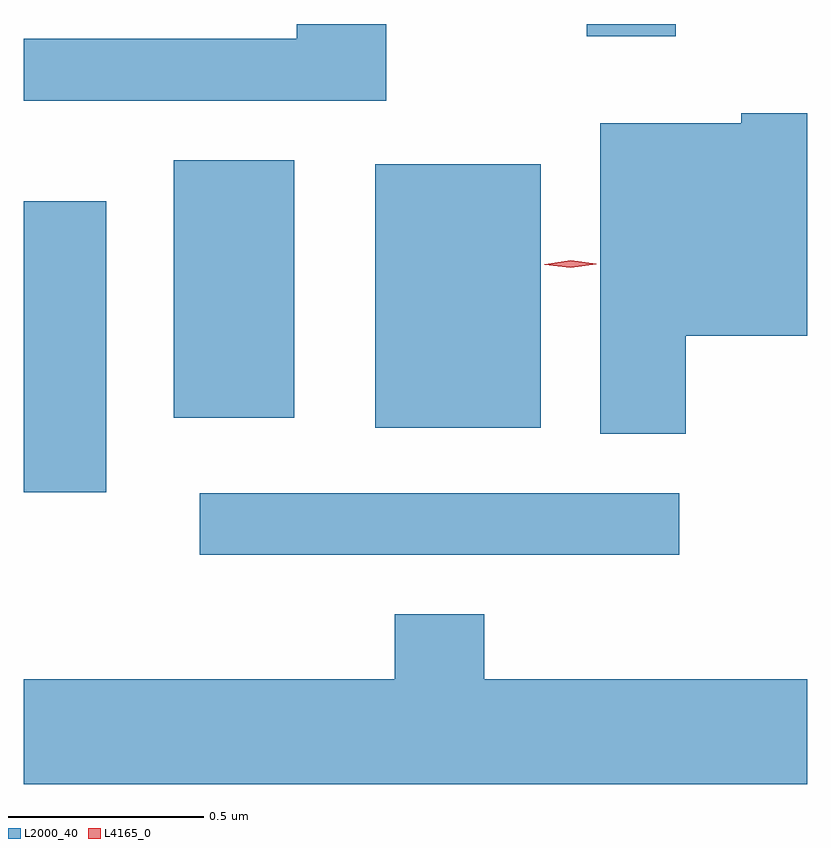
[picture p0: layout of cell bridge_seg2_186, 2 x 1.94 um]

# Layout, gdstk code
import gdstk
lib = gdstk.Library(unit=1e-6, precision=1e-09)
def R(c, l, rs):  # rectangles x0, y0, x1, y1
    for r in rs: c.add(gdstk.rectangle(r[:2], r[2:], *l))
def P(c, l, *ps):  # polygons
    for p in ps: c.add(gdstk.Polygon(p, *l))
L2000_40 = (2000, 40)
L4165_0 = (4165, 0)

bridge_seg2_186 = lib.new_cell('bridge_seg2_186')
R(bridge_seg2_186, L2000_40, [(851.023,1028.921,852.248,1029.079), (850.574,1029.081,850.784,1029.824), (851.471,1029.246,851.894,1029.919), (850.956,1029.271,851.264,1029.929), (852.011,1030.246,852.239,1030.277)])
P(bridge_seg2_186, L2000_40, [(851.499,1030.277),(851.271,1030.277),(851.271,1030.239),(850.574,1030.239),(850.574,1030.081),(851.499,1030.081)],
  [(852.264,1029.481),(852.574,1029.481),(852.574,1030.049),(852.406,1030.049),(852.406,1030.024),(852.046,1030.024),(852.046,1029.231),(852.264,1029.231)],
  [(852.574,1028.604),(851.749,1028.604),(851.749,1028.769),(851.521,1028.769),(851.521,1028.604),(850.574,1028.604),(850.574,1028.336),(852.574,1028.336)])
P(bridge_seg2_186, L4165_0, [(851.97,1029.654),(851.904,1029.662),(851.903,1029.663),(851.904,1029.663),(851.97,1029.674),(852.036,1029.665),(852.036,1029.664),(852.036,1029.664)])

lib.write_gds('bridge_seg2_186.gds')
